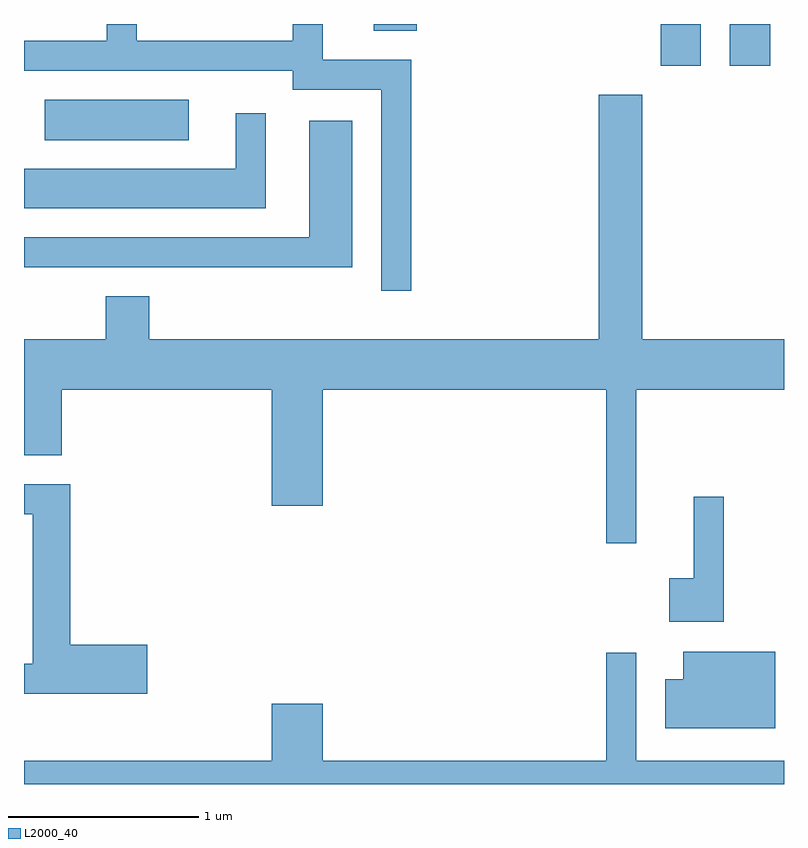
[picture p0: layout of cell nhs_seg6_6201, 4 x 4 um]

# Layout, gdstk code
import gdstk
lib = gdstk.Library(unit=1e-6, precision=1e-09)
def R(c, l, rs):  # rectangles x0, y0, x1, y1
    for r in rs: c.add(gdstk.rectangle(r[:2], r[2:], *l))
def P(c, l, *ps):  # polygons
    for p in ps: c.add(gdstk.Polygon(p, *l))
L2000_40 = (2000, 40)

nhs_seg6_6201 = lib.new_cell('nhs_seg6_6201')
R(nhs_seg6_6201, L2000_40, [(373.721,1573.551,374.479,1573.764), (376.961,1573.941,377.174,1574.162), (377.326,1573.941,377.539,1574.162), (375.451,1574.126,375.679,1574.162)])
P(nhs_seg6_6201, L2000_40, [(375.649,1573.974),(375.184,1573.974),(375.184,1574.162),(375.026,1574.162),(375.026,1574.074),(374.204,1574.074),(374.204,1574.162),(374.046,1574.162),(374.046,1574.074),(373.611,1574.074),(373.611,1573.916),(375.026,1573.916),(375.026,1573.816),(375.491,1573.816),(375.491,1572.758),(375.649,1572.758)],
  [(376.834,1572.236),(377.611,1572.236),(377.611,1572.504),(376.864,1572.504),(376.864,1573.789),(376.636,1573.789),(376.636,1572.504),(374.269,1572.504),(374.269,1572.729),(374.041,1572.729),(374.041,1572.504),(373.611,1572.504),(373.611,1571.891),(373.809,1571.891),(373.809,1572.236),(374.916,1572.236),(374.916,1571.626),(375.184,1571.626),(375.184,1572.236),(376.676,1572.236),(376.676,1571.428),(376.834,1571.428)],
  [(374.884,1573.693),(374.726,1573.693),(374.726,1573.399),(373.611,1573.399),(373.611,1573.191),(374.884,1573.191)],
  [(375.339,1573.654),(375.111,1573.654),(375.111,1573.039),(373.611,1573.039),(373.611,1572.881),(375.339,1572.881)],
  [(374.259,1570.894),(373.854,1570.894),(373.854,1571.739),(373.611,1571.739),(373.611,1571.581),(373.656,1571.581),(373.656,1570.794),(373.611,1570.794),(373.611,1570.636),(374.259,1570.636)],
  [(377.294,1571.673),(377.136,1571.673),(377.136,1571.244),(377.006,1571.244),(377.006,1571.016),(377.294,1571.016)],
  [(377.564,1570.859),(377.081,1570.859),(377.081,1570.714),(376.986,1570.714),(376.986,1570.456),(377.564,1570.456)],
  [(377.611,1570.284),(376.834,1570.284),(376.834,1570.853),(376.676,1570.853),(376.676,1570.284),(375.184,1570.284),(375.184,1570.584),(374.916,1570.584),(374.916,1570.284),(373.611,1570.284),(373.611,1570.162),(377.611,1570.162)])

lib.write_gds('nhs_seg6_6201.gds')
